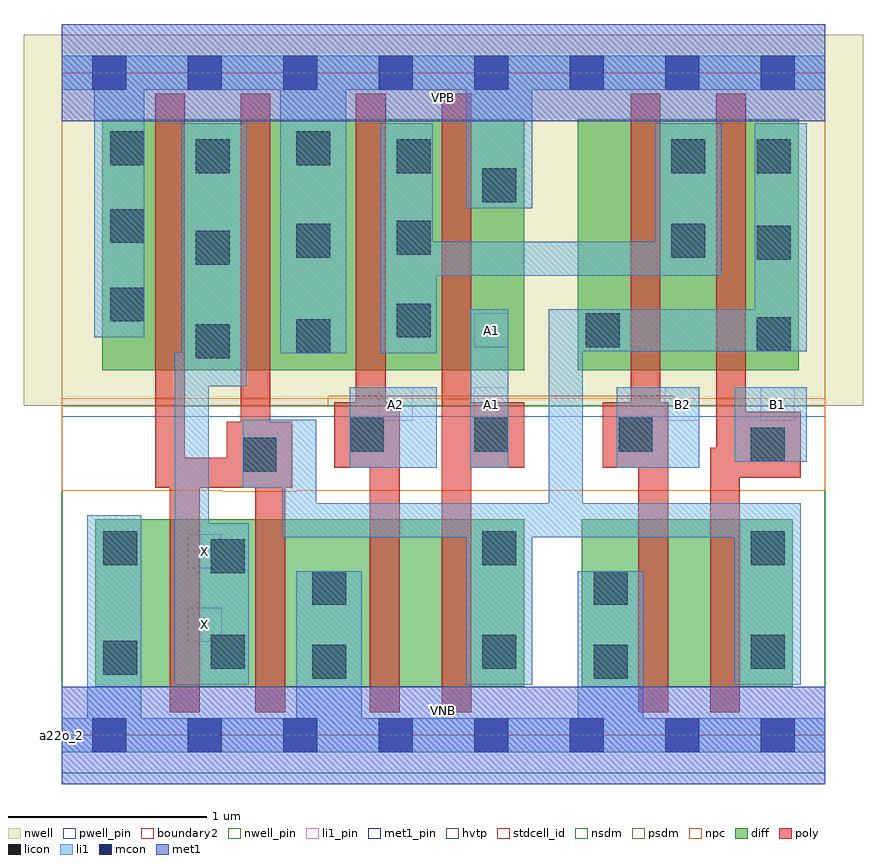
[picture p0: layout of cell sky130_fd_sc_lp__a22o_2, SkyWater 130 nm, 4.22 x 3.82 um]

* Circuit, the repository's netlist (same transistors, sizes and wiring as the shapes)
* Copyright 2020 The SkyWater PDK Authors
*
* Licensed under the Apache License, Version 2.0 (the "License");
* you may not use this file except in compliance with the License.
* You may obtain a copy of the License at
*
*     https://www.apache.org/licenses/LICENSE-2.0
*
* Unless required by applicable law or agreed to in writing, software
* distributed under the License is distributed on an "AS IS" BASIS,
* WITHOUT WARRANTIES OR CONDITIONS OF ANY KIND, either express or implied.
* See the License for the specific language governing permissions and
* limitations under the License.
*
* SPDX-License-Identifier: Apache-2.0

.SUBCKT sky130_fd_sc_lp__a22o_2 A1 A2 B1 B2 VGND VNB VPB VPWR X
*.PININFO A1:I A2:I B1:I B2:I VGND:I VNB:I VPB:I VPWR:I X:O
MMPA0 pndA A1 VPWR VPB sky130_fd_pr__pfet_01v8_hvt m=1 w=1.26U l=0.15U mult=1 sa=0.265
+ sb=0.265 sd=0.28 area=0.063 perim=1.14
MMPA1 pndA A2 VPWR VPB sky130_fd_pr__pfet_01v8_hvt m=1 w=1.26U l=0.15U mult=1 sa=0.265
+ sb=0.265 sd=0.28 area=0.063 perim=1.14
MMPB0 y B1 pndA VPB sky130_fd_pr__pfet_01v8_hvt m=1 w=1.26U l=0.15U mult=1 sa=0.265
+ sb=0.265 sd=0.28 area=0.063 perim=1.14
MMPB1 y B2 pndA VPB sky130_fd_pr__pfet_01v8_hvt m=1 w=1.26U l=0.15U mult=1 sa=0.265
+ sb=0.265 sd=0.28 area=0.063 perim=1.14
MMIPX X y VPWR VPB sky130_fd_pr__pfet_01v8_hvt m=2 w=1.26U l=0.15U mult=1 sa=0.265
+ sb=0.265 sd=0.28 area=0.063 perim=1.14
MMNA0 y A1 sndA1 VNB sky130_fd_pr__nfet_01v8 m=1 w=0.84U l=0.15U mult=1 sa=0.265
+ sb=0.265 sd=0.28 area=0.063 perim=1.14
MMNA1 sndA1 A2 VGND VNB sky130_fd_pr__nfet_01v8 m=1 w=0.84U l=0.15U mult=1 sa=0.265
+ sb=0.265 sd=0.28 area=0.063 perim=1.14
MMNB0 y B1 sndB1 VNB sky130_fd_pr__nfet_01v8 m=1 w=0.84U l=0.15U mult=1 sa=0.265
+ sb=0.265 sd=0.28 area=0.063 perim=1.14
MMNB1 sndB1 B2 VGND VNB sky130_fd_pr__nfet_01v8 m=1 w=0.84U l=0.15U mult=1 sa=0.265
+ sb=0.265 sd=0.28 area=0.063 perim=1.14
MMINX X y VGND VNB sky130_fd_pr__nfet_01v8 m=2 w=0.84U l=0.15U mult=1 sa=0.265
+ sb=0.265 sd=0.28 area=0.063 perim=1.14
.ENDS sky130_fd_sc_lp__a22o_2

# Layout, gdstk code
import gdstk
lib = gdstk.Library(unit=1e-6, precision=1e-09)
def R(c, l, rs):  # rectangles x0, y0, x1, y1
    for r in rs: c.add(gdstk.rectangle(r[:2], r[2:], *l))
def A(c, l, x, y, w, h, nx, ny, dx, dy):  # array of equal rectangles
    R(c, l, [(x+i*dx, y+j*dy, x+i*dx+w, y+j*dy+h) for i in range(nx) for j in range(ny)])
def P(c, l, *ps):  # polygons
    for p in ps: c.add(gdstk.Polygon(p, *l))
nwell_pin = (64, 16)
nwell = (64, 20)
diff = (65, 20)
poly = (66, 20)
licon = (66, 44)
li1_pin = (67, 16)
li1 = (67, 20)
mcon = (67, 44)
met1_pin = (68, 16)
met1 = (68, 20)
hvtp = (78, 44)
stdcell_id = (81, 4)
nsdm = (93, 44)
psdm = (94, 20)
npc = (95, 20)
pwell_pin = (122, 16)
boundary2 = (236, 0)

sky130_fd_sc_lp__a22o_2 = lib.new_cell('sky130_fd_sc_lp__a22o_2')
R(sky130_fd_sc_lp__a22o_2, nwell_pin, [(0,3.085,3.84,3.33)])
R(sky130_fd_sc_lp__a22o_2, nwell, [(-0.19,1.655,4.03,3.52)])
R(sky130_fd_sc_lp__a22o_2, diff, [(0.17,0.245,2.325,1.085), (2.615,0.245,3.675,1.085), (0.205,1.835,2.325,3.095), (2.595,1.835,3.705,3.095)])
P(sky130_fd_sc_lp__a22o_2, poly, [(1.16,1.575),(1.05,1.575),(1.05,3.225),(0.9,3.225),(0.9,1.575),(0.83,1.575),(0.83,1.395),(0.62,1.395),(0.62,3.225),(0.47,3.225),(0.47,1.245),(0.545,1.245),(0.545,0.115),(0.695,0.115),(0.695,1.245),(0.975,1.245),(0.975,0.115),(1.125,0.115),(1.125,1.245),(1.16,1.245)],
  [(1.7,1.675),(1.63,1.675),(1.63,3.225),(1.48,3.225),(1.48,1.675),(1.37,1.675),(1.37,1.345),(1.55,1.345),(1.55,0.115),(1.7,0.115)],
  [(2.325,1.675),(2.06,1.675),(2.06,3.225),(1.91,3.225),(1.91,0.115),(2.06,0.115),(2.06,1.345),(2.325,1.345)],
  [(3.05,1.675),(3.01,1.675),(3.01,3.225),(2.86,3.225),(2.86,1.675),(2.72,1.675),(2.72,1.345),(2.9,1.345),(2.9,0.115),(3.05,0.115)],
  [(3.715,1.625),(3.44,1.625),(3.44,3.225),(3.29,3.225),(3.29,1.445),(3.26,1.445),(3.26,0.115),(3.41,0.115),(3.41,1.295),(3.715,1.295)])
A(sky130_fd_sc_lp__a22o_2, licon, 3.465, 0.335, 0.17, 0.17, 1, 3, 0, 0.52)
R(sky130_fd_sc_lp__a22o_2, licon, [(1.26,0.285,1.43,0.455), (2.675,0.285,2.845,0.455), (0.21,0.305,0.38,0.475), (0.75,0.335,0.92,0.505), (2.115,0.335,2.285,0.505), (1.26,0.655,1.43,0.825), (2.675,0.655,2.845,0.825), (0.75,0.815,0.92,0.985), (0.21,0.855,0.38,1.025), (2.115,0.855,2.285,1.025), (0.91,1.325,1.08,1.495), (1.45,1.425,1.62,1.595), (2.075,1.425,2.245,1.595), (2.8,1.425,2.97,1.595), (0.675,1.895,0.845,2.065), (1.18,1.92,1.35,2.09), (3.495,1.93,3.665,2.1), (2.635,1.95,2.805,2.12), (1.685,2,1.855,2.17), (0.245,2.08,0.415,2.25), (0.675,2.365,0.845,2.535), (3.495,2.39,3.665,2.56), (1.18,2.4,1.35,2.57), (3.065,2.4,3.235,2.57), (1.685,2.415,1.855,2.585), (0.245,2.475,0.415,2.645), (2.115,2.68,2.285,2.85), (0.675,2.825,0.845,2.995), (1.685,2.825,1.855,2.995), (3.065,2.825,3.235,2.995), (3.495,2.825,3.665,2.995), (0.245,2.865,0.415,3.035), (1.18,2.865,1.35,3.035)])
R(sky130_fd_sc_lp__a22o_2, li1_pin, [(0.635,0.47,0.805,0.64), (0.635,0.84,0.805,1.01), (1.595,1.58,1.765,1.75), (2.075,1.58,2.245,1.75), (3.035,1.58,3.205,1.75), (3.515,1.58,3.685,1.75), (2.075,1.95,2.245,2.12)])
R(sky130_fd_sc_lp__a22o_2, li1, [(1.45,1.345,1.885,1.75), (2.055,1.345,2.245,2.14), (2.79,1.345,3.205,1.75), (3.385,1.375,3.745,1.75)])
P(sky130_fd_sc_lp__a22o_2, li1, [(2.035,2.65),(2.035,3.245),(1.43,3.245),(1.43,1.92),(1.1,1.92),(1.1,3.245),(0.415,3.245),(0.415,2),(0.165,2),(0.165,3.245),(0,3.245),(0,3.415),(3.84,3.415),(3.84,3.245),(2.365,3.245),(2.365,2.65)],
  [(2.595,0.085),(2.595,0.825),(2.925,0.825),(2.925,0.085),(3.84,0.085),(3.84,-0.085),(0,-0.085),(0,0.085),(0.13,0.085),(0.13,1.105),(0.4,1.105),(0.4,0.085),(1.18,0.085),(1.18,0.825),(1.51,0.825),(1.51,0.085)],
  [(0.57,0.255),(0.57,1.925),(0.605,1.925),(0.605,3.075),(0.93,3.075),(0.93,1.755),(0.74,1.755),(0.74,1.065),(0.94,1.065),(0.94,0.255)],
  [(2.45,2.14),(3.485,2.14),(3.485,3.075),(3.745,3.075),(3.745,1.93),(2.62,1.93),(2.62,1.165),(3.715,1.165),(3.715,0.255),(3.385,0.255),(3.385,0.995),(2.365,0.995),(2.365,0.255),(2.035,0.255),(2.035,0.995),(1.11,0.995),(1.11,1.245),(0.91,1.245),(0.91,1.585),(1.28,1.585),(1.28,1.165),(2.45,1.165)],
  [(1.865,2.48),(2.985,2.48),(2.985,3.075),(3.315,3.075),(3.315,2.31),(1.885,2.31),(1.885,1.92),(1.605,1.92),(1.605,3.075),(1.865,3.075)])
A(sky130_fd_sc_lp__a22o_2, mcon, 0.155, -0.085, 0.17, 0.17, 8, 2, 0.48, 3.33)
R(sky130_fd_sc_lp__a22o_2, met1_pin, [(0,0,3.84,0.245), (0,3.085,3.84,3.33)])
R(sky130_fd_sc_lp__a22o_2, met1, [(0,-0.245,3.84,0.245), (0,3.085,3.84,3.575)])
R(sky130_fd_sc_lp__a22o_2, hvtp, [(0,1.6,3.84,3.33)])
R(sky130_fd_sc_lp__a22o_2, stdcell_id, [(0,0,3.84,3.33)])
R(sky130_fd_sc_lp__a22o_2, nsdm, [(0,-0.19,3.84,1.655)])
P(sky130_fd_sc_lp__a22o_2, psdm, [(3.84,3.52),(0,3.52),(0,1.655),(1.34,1.655),(1.34,1.705),(3.08,1.705),(3.08,1.655),(3.84,1.655)])
P(sky130_fd_sc_lp__a22o_2, npc, [(3.84,1.695),(0,1.695),(0,1.23),(0.81,1.23),(0.81,1.225),(1.18,1.225),(1.18,1.23),(3.84,1.23)])
R(sky130_fd_sc_lp__a22o_2, pwell_pin, [(0,0,3.84,0.245)])
R(sky130_fd_sc_lp__a22o_2, boundary2, [(0,0,3.84,3.33)])
sky130_fd_sc_lp__a22o_2.add(gdstk.Label('VNB', (1.92,0.123), layer=64, texttype=59))
sky130_fd_sc_lp__a22o_2.add(gdstk.Label('VPB', (1.92,3.208), layer=64, texttype=5))
sky130_fd_sc_lp__a22o_2.add(gdstk.Label('a22o_2', (0,0), layer=83, texttype=44))
sky130_fd_sc_lp__a22o_2.add(gdstk.Label('VPWR', (1.92,3.208), layer=68, texttype=5))
sky130_fd_sc_lp__a22o_2.add(gdstk.Label('VGND', (1.92,0.123), layer=68, texttype=5))
sky130_fd_sc_lp__a22o_2.add(gdstk.Label('X', (0.72,0.555), layer=67, texttype=5))
sky130_fd_sc_lp__a22o_2.add(gdstk.Label('X', (0.72,0.925), layer=67, texttype=5))
sky130_fd_sc_lp__a22o_2.add(gdstk.Label('A2', (1.68,1.665), layer=67, texttype=5))
sky130_fd_sc_lp__a22o_2.add(gdstk.Label('B1', (3.6,1.665), layer=67, texttype=5))
sky130_fd_sc_lp__a22o_2.add(gdstk.Label('B2', (3.12,1.665), layer=67, texttype=5))
sky130_fd_sc_lp__a22o_2.add(gdstk.Label('A1', (2.16,1.665), layer=67, texttype=5))
sky130_fd_sc_lp__a22o_2.add(gdstk.Label('A1', (2.16,2.035), layer=67, texttype=5))

lib.write_gds('sky130_fd_sc_lp__a22o_2.gds')
